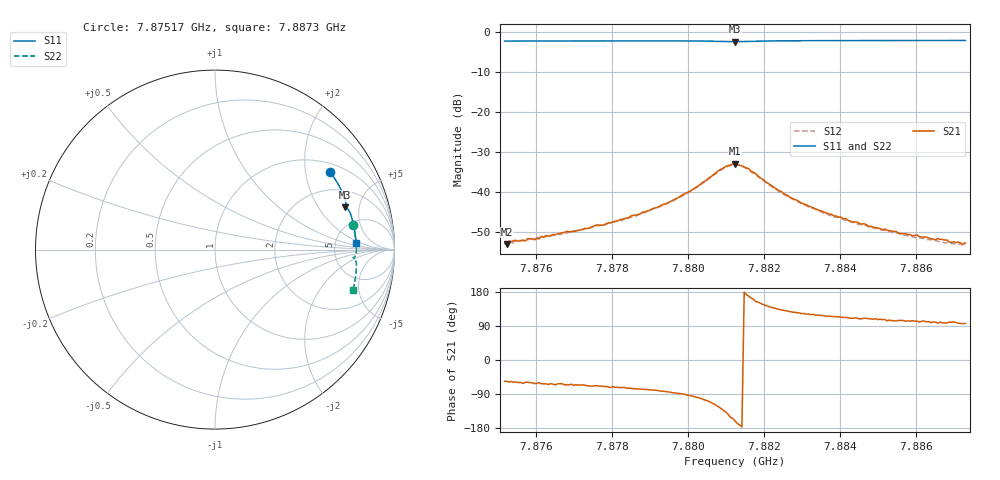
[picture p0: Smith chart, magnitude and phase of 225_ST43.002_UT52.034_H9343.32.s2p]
#  HZ  S  DB  R  50.00
! Rohde & Schwarz Vector Network Analyzer
! Rohde-Schwarz,ZNB20-2Port,1311601062101988,3.16
! Created: UTC 1/12/2023, 6:46:09 PM
! freq[Hz]  db:S11  ang:S11  db:S21  ang:S21  db:S12  ang:S12  db:S22  ang:S22
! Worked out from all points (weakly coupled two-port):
!   201 points, 7.87517 GHz to 7.8873 GHz, reference 50 ohm
!   highest |S21| = -32.95 dB at 7.88123 GHz (marker M1); lowest = -53.0 dB at 7.87523 GHz (marker M2)
!   lowest |S11| = -2.4 dB at 7.88123 GHz (marker M3), VSWR 7.36, Z = 159 + j178 ohm
!   |S11| at or under -10 dB: nowhere
!   |S22| runs from -2.3 to -1.9 dB; largest |S21 - S12| = 0.0019
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7.875166e9  -2.23 34.1  -52.93 -56.2  -52.77 -61.2  -2.16 10.3
7.875226e9  -2.23 33.9  -53.04 -56.3  -52.55 -61.9  -2.16 10.1
7.875287e9  -2.23 33.7  -52.33 -58.4  -52.40 -60.7  -2.15 9.9
7.875348e9  -2.23 33.6  -52.43 -56.3  -52.94 -61.2  -2.17 9.8
7.87553e9  -2.22 33.1  -52.33 -59.5  -52.13 -61.9  -2.14 9.4
7.875772e9  -2.22 32.4  -51.68 -58.2  -51.96 -61.9  -2.14 8.9
7.875954e9  -2.21 31.9  -51.98 -62.3  -51.82 -63.5  -2.14 8.4
7.876136e9  -2.21 31.4  -51.09 -62.8  -51.19 -65.3  -2.14 8.0
7.877228e9  -2.20 28.5  -49.31 -65.6  -49.38 -70.7  -2.10 5.4
7.878259e9  -2.18 25.6  -46.85 -72.4  -47.15 -75.7  -2.07 3.1
7.879229e9  -2.17 22.9  -43.65 -81.3  -43.80 -85.2  -2.07 0.7
7.879957e9  -2.19 20.9  -40.18 -92.2  -40.50 -95.6  -2.08 -1.1
7.880928e9  -2.33 18.2  -33.92 -132.7  -34.12 -136.4  -2.21 -3.3
7.881231e9  -2.38 18.1  -32.95 -160.7  -33.17 -163.7  -2.26 -3.4
7.881595e9  -2.30 17.8  -34.19 168.3  -34.53 164.3  -2.20 -3.4
7.882626e9  -2.16 15.0  -40.92 128.8  -41.26 124.9  -2.03 -5.7
7.883293e9  -2.13 13.1  -44.01 120.5  -44.14 116.3  -2.00 -7.3
7.884324e9  -2.11 10.4  -47.51 109.9  -47.59 108.6  -1.98 -9.7
7.885295e9  -2.10 7.8  -49.69 105.2  -49.92 102.6  -1.95 -11.8
7.88675e9  -2.08 4.0  -52.04 97.8  -52.78 96.1  -1.95 -14.9
7.887236e9  -2.08 2.7  -53.04 95.9  -53.57 94.5  -1.93 -16.0
7.887296e9  -2.08 2.6  -52.75 96.4  -53.19 93.8  -1.93 -16.2
